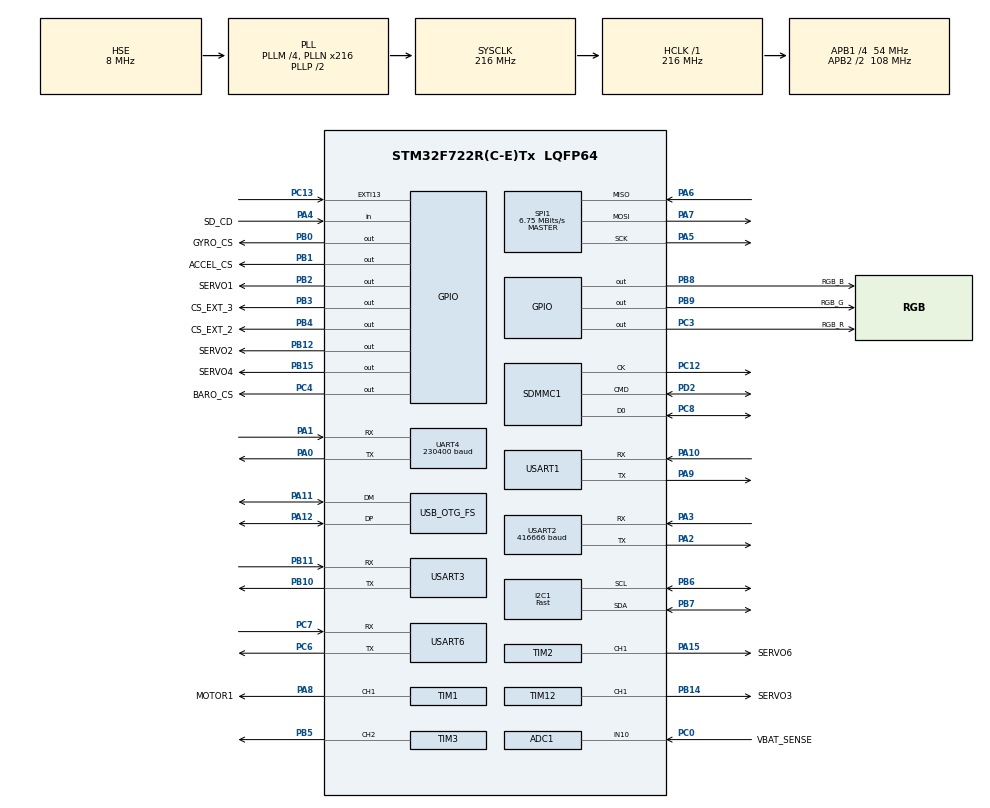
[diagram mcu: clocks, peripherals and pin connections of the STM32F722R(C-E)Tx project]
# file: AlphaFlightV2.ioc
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ADC1.Channel-3\#ChannelRegularConversion=ADC_CHANNEL_10
ADC1.NbrOfConversionFlag=1
ADC1.Rank-3\#ChannelRegularConversion=1
ADC1.SamplingTime-3\#ChannelRegularConversion=ADC_SAMPLETIME_3CYCLES
ADC1.master=1
CORTEX_M7.default_mode_Activation=1
Dma.Request0=USART2_RX
Dma.Request1=UART4_RX
Dma.Request2=USART2_TX
Dma.Request3=SDMMC1_TX
Dma.Request4=TIM1_UP
Dma.SDMMC1_TX.3.Direction=DMA_MEMORY_TO_PERIPH
Dma.SDMMC1_TX.3.FIFOMode=DMA_FIFOMODE_ENABLE
Dma.SDMMC1_TX.3.FIFOThreshold=DMA_FIFO_THRESHOLD_FULL
Dma.SDMMC1_TX.3.Instance=DMA2_Stream6
Dma.SDMMC1_TX.3.MemBurst=DMA_MBURST_INC4
Dma.SDMMC1_TX.3.MemDataAlignment=DMA_MDATAALIGN_WORD
Dma.SDMMC1_TX.3.MemInc=DMA_MINC_ENABLE
Dma.SDMMC1_TX.3.Mode=DMA_PFCTRL
Dma.SDMMC1_TX.3.PeriphBurst=DMA_PBURST_INC4
Dma.SDMMC1_TX.3.PeriphDataAlignment=DMA_PDATAALIGN_WORD
Dma.SDMMC1_TX.3.PeriphInc=DMA_PINC_DISABLE
Dma.SDMMC1_TX.3.Priority=DMA_PRIORITY_HIGH
Dma.TIM1_UP.4.Direction=DMA_MEMORY_TO_PERIPH
Dma.TIM1_UP.4.FIFOMode=DMA_FIFOMODE_DISABLE
Dma.TIM1_UP.4.Instance=DMA2_Stream5
Dma.TIM1_UP.4.MemDataAlignment=DMA_MDATAALIGN_HALFWORD
Dma.TIM1_UP.4.MemInc=DMA_MINC_ENABLE
Dma.TIM1_UP.4.Mode=DMA_NORMAL
Dma.TIM1_UP.4.PeriphDataAlignment=DMA_PDATAALIGN_HALFWORD
Dma.TIM1_UP.4.PeriphInc=DMA_PINC_DISABLE
Dma.TIM1_UP.4.Priority=DMA_PRIORITY_HIGH
Dma.UART4_RX.1.Direction=DMA_PERIPH_TO_MEMORY
Dma.UART4_RX.1.FIFOMode=DMA_FIFOMODE_DISABLE
Dma.UART4_RX.1.Instance=DMA1_Stream2
Dma.UART4_RX.1.MemDataAlignment=DMA_MDATAALIGN_BYTE
Dma.UART4_RX.1.MemInc=DMA_MINC_ENABLE
Dma.UART4_RX.1.Mode=DMA_CIRCULAR
Dma.UART4_RX.1.PeriphDataAlignment=DMA_PDATAALIGN_BYTE
Dma.UART4_RX.1.PeriphInc=DMA_PINC_DISABLE
Dma.UART4_RX.1.Priority=DMA_PRIORITY_HIGH
Dma.USART2_RX.0.Direction=DMA_PERIPH_TO_MEMORY
Dma.USART2_RX.0.FIFOMode=DMA_FIFOMODE_DISABLE
Dma.USART2_RX.0.Instance=DMA1_Stream5
Dma.USART2_RX.0.MemDataAlignment=DMA_MDATAALIGN_BYTE
Dma.USART2_RX.0.MemInc=DMA_MINC_ENABLE
Dma.USART2_RX.0.Mode=DMA_CIRCULAR
Dma.USART2_RX.0.PeriphDataAlignment=DMA_PDATAALIGN_BYTE
Dma.USART2_RX.0.PeriphInc=DMA_PINC_DISABLE
Dma.USART2_RX.0.Priority=DMA_PRIORITY_VERY_HIGH
Dma.USART2_TX.2.Direction=DMA_MEMORY_TO_PERIPH
Dma.USART2_TX.2.FIFOMode=DMA_FIFOMODE_DISABLE
Dma.USART2_TX.2.Instance=DMA1_Stream6
Dma.USART2_TX.2.MemDataAlignment=DMA_MDATAALIGN_BYTE
Dma.USART2_TX.2.MemInc=DMA_MINC_ENABLE
Dma.USART2_TX.2.Mode=DMA_NORMAL
Dma.USART2_TX.2.PeriphDataAlignment=DMA_PDATAALIGN_BYTE
Dma.USART2_TX.2.PeriphInc=DMA_PINC_DISABLE
Dma.USART2_TX.2.Priority=DMA_PRIORITY_MEDIUM
I2C1.I2C_Speed_Mode=I2C_Fast
I2C1.Timing=0x6000030D
Mcu.Family=STM32F7
Mcu.Name=STM32F722R(C-E)Tx
Mcu.Package=LQFP64
NVIC.DMA1_Stream2_IRQn=true\:0\:0\:false\:false\:true\:false\:true\:true
NVIC.DMA1_Stream5_IRQn=true\:0\:0\:false\:false\:true\:false\:true\:true
NVIC.DMA1_Stream6_IRQn=true\:0\:0\:false\:false\:true\:false\:true\:true
NVIC.DMA2_Stream5_IRQn=true\:0\:0\:false\:false\:true\:false\:true\:true
NVIC.DMA2_Stream6_IRQn=true\:0\:0\:false\:false\:true\:false\:true\:true
NVIC.EXTI15_10_IRQn=true\:0\:0\:false\:false\:true\:true\:true\:true
NVIC.OTG_FS_IRQn=true\:0\:0\:false\:false\:true\:false\:true\:true
NVIC.PriorityGroup=NVIC_PRIORITYGROUP_4
NVIC.SDMMC1_IRQn=true\:0\:0\:false\:false\:true\:true\:true\:true
NVIC.TIM1_UP_TIM10_IRQn=true\:0\:0\:false\:false\:true\:true\:true\:true
NVIC.UART4_IRQn=true\:0\:0\:false\:false\:true\:true\:true\:true
NVIC.USART2_IRQn=true\:0\:0\:false\:false\:true\:true\:true\:true
PA0-WKUP.Mode=Asynchronous
PA0-WKUP.Signal=UART4_TX
PA1.Mode=Asynchronous
PA1.Signal=UART4_RX
PA10.Mode=Asynchronous
PA10.Signal=USART1_RX
PA11.Mode=Device_Only
PA11.Signal=USB_OTG_FS_DM
PA12.Mode=Device_Only
PA12.Signal=USB_OTG_FS_DP
PA13.Mode=Serial_Wire
PA13.Signal=SYS_JTMS-SWDIO
PA14.Mode=Serial_Wire
PA14.Signal=SYS_JTCK-SWCLK
PA15.GPIO_Label=SERVO6
PA15.Signal=S_TIM2_CH1_ETR
PA2.Mode=Asynchronous
PA2.Signal=USART2_TX
PA3.Mode=Asynchronous
PA3.Signal=USART2_RX
PA4.GPIO_Label=SD_CD
PA4.GPIO_PuPd=GPIO_PULLUP
PA4.Signal=GPIO_Input
PA5.Mode=Full_Duplex_Master
PA5.Signal=SPI1_SCK
PA6.Mode=Full_Duplex_Master
PA6.Signal=SPI1_MISO
PA7.Mode=Full_Duplex_Master
PA7.Signal=SPI1_MOSI
PA8.GPIO_Label=MOTOR1
PA8.Signal=S_TIM1_CH1
PA9.Mode=Asynchronous
PA9.Signal=USART1_TX
PB0.GPIO_Label=GYRO_CS
PB0.GPIO_PuPd=GPIO_NOPULL
PB0.PinState=GPIO_PIN_SET
PB0.Signal=GPIO_Output
PB1.GPIO_Label=ACCEL_CS
PB1.GPIO_PuPd=GPIO_NOPULL
PB1.PinState=GPIO_PIN_SET
PB1.Signal=GPIO_Output
PB10.Mode=Asynchronous
PB10.Signal=USART3_TX
PB11.Mode=Asynchronous
PB11.Signal=USART3_RX
PB12.GPIO_Label=SERVO2
PB12.GPIO_Speed=GPIO_SPEED_FREQ_VERY_HIGH
PB12.Signal=GPIO_Output
PB13.Signal=SPI2_SCK
PB14.GPIO_Label=SERVO3
PB14.Signal=S_TIM12_CH1
PB15.GPIO_Label=SERVO4
PB15.GPIO_Speed=GPIO_SPEED_FREQ_VERY_HIGH
PB15.Signal=GPIO_Output
PB2.GPIO_Label=SERVO1
PB2.Signal=GPIO_Output
PB3.GPIO_Label=CS_EXT_3
PB3.GPIO_PuPd=GPIO_PULLUP
PB3.PinState=GPIO_PIN_SET
PB3.Signal=GPIO_Output
PB4.GPIO_Label=CS_EXT_2
PB4.GPIO_PuPd=GPIO_PULLUP
PB4.PinState=GPIO_PIN_SET
PB4.Signal=GPIO_Output
PB5.Signal=S_TIM3_CH2
PB6.Mode=I2C
PB6.Signal=I2C1_SCL
PB7.Mode=I2C
PB7.Signal=I2C1_SDA
PB8.GPIO_Label=RGB_B
PB8.GPIO_ModeDefaultOutputPP=GPIO_MODE_OUTPUT_OD
PB8.GPIO_PuPd=GPIO_NOPULL
PB8.PinState=GPIO_PIN_SET
PB8.Signal=GPIO_Output
PB9.GPIO_Label=RGB_G
PB9.GPIO_ModeDefaultOutputPP=GPIO_MODE_OUTPUT_OD
PB9.GPIO_PuPd=GPIO_NOPULL
PB9.PinState=GPIO_PIN_SET
PB9.Signal=GPIO_Output
PC0.GPIO_Label=VBAT_SENSE
PC0.Signal=ADCx_IN10
PC1.Signal=SPI2_MOSI
PC10.Signal=SDMMC1_D2
PC11.Signal=SDMMC1_D3
PC12.Mode=SD_1_bit
PC12.Signal=SDMMC1_CK
PC13.GPIO_ModeDefaultEXTI=GPIO_MODE_IT_FALLING
PC13.GPIO_PuPd=GPIO_PULLUP
PC13.Signal=GPXTI13
PC2.Signal=SPI2_MISO
PC3.GPIO_Label=RGB_R
PC3.GPIO_ModeDefaultOutputPP=GPIO_MODE_OUTPUT_OD
PC3.GPIO_PuPd=GPIO_NOPULL
PC3.PinState=GPIO_PIN_SET
PC3.Signal=GPIO_Output
PC4.GPIO_Label=BARO_CS
PC4.GPIO_PuPd=GPIO_PULLUP
PC4.PinState=GPIO_PIN_SET
PC4.Signal=GPIO_Output
PC6.Mode=Asynchronous
PC6.Signal=USART6_TX
PC7.Mode=Asynchronous
PC7.Signal=USART6_RX
PC8.Mode=SD_1_bit
PC8.Signal=SDMMC1_D0
PC9.Signal=SDMMC1_D1
PD2.Mode=SD_1_bit
PD2.Signal=SDMMC1_CMD
PH0-OSC_IN.Mode=HSE-External-Clock-Source
PH0-OSC_IN.Signal=RCC_OSC_IN
PH1-OSC_OUT.Mode=HSE-External-Clock-Source
PH1-OSC_OUT.Signal=RCC_OSC_OUT
ProjectManager.HeapSize=0x400
ProjectManager.StackSize=0x800
ProjectManager.TargetToolchain=STM32CubeIDE
RCC.AHBFreq_Value=216000000
RCC.APB1CLKDivider=RCC_HCLK_DIV4
RCC.APB1Freq_Value=54000000
RCC.APB1TimFreq_Value=108000000
RCC.APB2CLKDivider=RCC_HCLK_DIV2
RCC.APB2Freq_Value=108000000
RCC.APB2TimFreq_Value=216000000
RCC.CortexFreq_Value=216000000
RCC.EnbaleCSS=true
RCC.HCLKFreq_Value=216000000
RCC.HSE_VALUE=8000000
RCC.HSI_VALUE=16000000
RCC.LSE_VALUE=32768
RCC.PLLM=4
RCC.PLLN=216
RCC.PLLQ=9
RCC.SDMMCClockSelection=RCC_SDMMC1CLKSOURCE_CLK48
RCC.SYSCLKFreq_VALUE=216000000
RCC.SYSCLKSource=RCC_SYSCLKSOURCE_PLLCLK
RCC.USBFreq_Value=48000000
RCC.VCOOutputFreq_Value=432000000
SDMMC1.ClockDiv=4
SH.ADCx_IN10.0=ADC1_IN10,IN10
SH.S_TIM12_CH1.0=TIM12_CH1,PWM Generation1 CH1
SH.S_TIM1_CH1.0=TIM1_CH1,PWM Generation1 CH1
SH.S_TIM2_CH1_ETR.0=TIM2_CH1,PWM Generation1 CH1
SH.S_TIM3_CH2.0=TIM3_CH2,PWM Generation2 CH2
SPI1.BaudRatePrescaler=SPI_BAUDRATEPRESCALER_16
SPI1.CalculateBaudRate=6.75 MBits/s
SPI1.DataSize=SPI_DATASIZE_8BIT
SPI1.Direction=SPI_DIRECTION_2LINES
SPI1.Mode=SPI_MODE_MASTER
SPI1.VirtualType=VM_MASTER
TIM1.AutoReloadPreload=TIM_AUTORELOAD_PRELOAD_ENABLE
TIM1.Channel-PWM\ Generation1\ CH1=TIM_CHANNEL_1
TIM1.OCPolarity_1=TIM_OCPOLARITY_LOW
TIM1.Period=360
TIM1.Prescaler=0
TIM1.TIM_MasterOutputTrigger=TIM_TRGO_RESET
TIM10.AutoReloadPreload=TIM_AUTORELOAD_PRELOAD_ENABLE
TIM10.Channel=TIM_CHANNEL_1
TIM10.Period=20000
TIM10.Prescaler=215
TIM12.AutoReloadPreload=TIM_AUTORELOAD_PRELOAD_ENABLE
TIM12.Channel-PWM\ Generation1\ CH1=TIM_CHANNEL_1
TIM12.Period=19999
TIM12.Prescaler=107
TIM2.AutoReloadPreload=TIM_AUTORELOAD_PRELOAD_ENABLE
TIM2.Channel-PWM\ Generation1\ CH1=TIM_CHANNEL_1
TIM2.Period=19999
TIM2.Prescaler=107
TIM3.Channel-PWM\ Generation2\ CH2=TIM_CHANNEL_2
TIM5.Prescaler=107
UART4.BaudRate=230400
USART1.VirtualMode-Asynchronous=VM_ASYNC
USART2.BaudRate=416666
USART2.VirtualMode-Asynchronous=VM_ASYNC
USART3.VirtualMode-Asynchronous=VM_ASYNC
USART6.VirtualMode=VM_ASYNC
USB_DEVICE.CLASS_NAME_FS=CDC
USB_DEVICE.VirtualMode-CDC_FS=Cdc
USB_DEVICE.VirtualModeFS=Cdc_FS
USB_OTG_FS.VirtualMode=Device_Only
VP_CRC_VS_CRC.Mode=CRC_Activate
VP_TIM10_VS_ClockSourceINT.Mode=Enable_Timer
VP_TIM10_VS_no_output1.Mode=Output Compare1 No Output
VP_TIM12_VS_ClockSourceINT.Mode=Internal
VP_TIM1_VS_ClockSourceINT.Mode=Internal
VP_TIM2_VS_ClockSourceINT.Mode=Internal
VP_TIM3_VS_ClockSourceINT.Mode=Internal
VP_TIM5_VS_ClockSourceINT.Mode=Internal
VP_USB_DEVICE_VS_USB_DEVICE_CDC_FS.Mode=CDC_FS
board=custom

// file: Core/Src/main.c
/* USER CODE BEGIN Header */
/**
  ******************************************************************************
  * @file           : main.c
  * @brief          : Main program body
  ******************************************************************************
  * @attention
  *
  * Copyright (c) 2025 STMicroelectronics.
  * All rights reserved.
  *
  * This software is licensed under terms that can be found in the LICENSE file
  * in the root directory of this software component.
  * If no LICENSE file comes with this software, it is provided AS-IS.
  *
  ******************************************************************************
  *
  * TODO: Search for timer pins
  */
/* USER CODE END Header */
#include "main.h"
#include "usb_device.h"

/* USER CODE BEGIN Includes */
#include <math.h>
#include <stdbool.h>

#include "onboard-sensors.h"
#include "crossfire.h"
#include "servo.h"
#include "scheduler.h"
#include "m10-gps.h"
#include "time-utils.h"
#include "flight_control.h"
#include "attitude_pid.h"
#include "sd_logger.h"
#include "utils.h"
#include "flight_state.h"
#include "usage_stats.h"
#include "load_config.h"
#include "qmc5883.h"
#include "usb_manager.h"
#include "config_data.h"
#include "dshot.h"
/* USER CODE END Includes */

/* USER CODE BEGIN PTD */
static volatile unsigned char progress_counter = 0;

/* USER CODE END PTD */

ADC_HandleTypeDef hadc1;

CRC_HandleTypeDef hcrc;

I2C_HandleTypeDef hi2c1;

SD_HandleTypeDef hsd1;
DMA_HandleTypeDef hdma_sdmmc1_tx;

TIM_HandleTypeDef htim1;
TIM_HandleTypeDef htim2;
TIM_HandleTypeDef htim3;
TIM_HandleTypeDef htim5;
TIM_HandleTypeDef htim10;
TIM_HandleTypeDef htim12;
DMA_HandleTypeDef hdma_tim1_up;

UART_HandleTypeDef huart4;
UART_HandleTypeDef huart1;
UART_HandleTypeDef huart2;
UART_HandleTypeDef huart3;
UART_HandleTypeDef huart6;
DMA_HandleTypeDef hdma_uart4_rx;
DMA_HandleTypeDef hdma_usart2_rx;
DMA_HandleTypeDef hdma_usart2_tx;

void SystemClock_Config(void);
static void MPU_Config(void);
static void MX_GPIO_Init(void);
static void MX_DMA_Init(void);
static void MX_USART1_UART_Init(void);
static void MX_USART2_UART_Init(void);
static void MX_USART6_UART_Init(void);
static void MX_SPI1_Init(void);
static void MX_I2C1_Init(void);
static void MX_UART4_Init(void);
static void MX_USART3_UART_Init(void);
static void MX_ADC1_Init(void);
static void MX_TIM2_Init(void);
static void MX_TIM10_Init(void);
static void MX_TIM1_Init(void);
static void MX_TIM12_Init(void);
static void MX_TIM5_Init(void);
static void MX_SDMMC1_SD_Init(void);
static void MX_CRC_Init(void);
static void MX_TIM3_Init(void);
/* USER CODE BEGIN PFP */
#if PRINT_DEBUG_DATA
static void PRINT_DATA(void);
#endif
/* USER CODE END PFP */

/* USER CODE BEGIN 0 */
extern FLY_BY_WIRE_SETPOINTS fly_by_wire_setpoints;
extern FLY_BY_WIRE_PID fbw_pid_settings;
extern bool arm_status;
/* USER CODE END 0 */

int main(void)
{

  /* USER CODE BEGIN 1 */
	progress_counter = 1;
  /* USER CODE END 1 */

  /* MPU Configuration--------------------------------------------------------*/
  MPU_Config();

  /* MCU Configuration--------------------------------------------------------*/

  /* Reset of all peripherals, Initializes the Flash interface and the Systick. */
  HAL_Init();

  /* Configure the system clock */
  SystemClock_Config();

  /* USER CODE BEGIN SysInit */
  progress_counter = 2;
  /* USER CODE END SysInit */

  /* Initialize all configured peripherals */
  MX_GPIO_Init();
  MX_DMA_Init();
  MX_USART1_UART_Init();
  MX_USART2_UART_Init();
  MX_USART6_UART_Init();
  MX_SPI1_Init();
  MX_I2C1_Init();
  MX_UART4_Init();
  MX_USART3_UART_Init();
  MX_ADC1_Init();
  MX_USB_DEVICE_Init();
  MX_TIM2_Init();
  MX_TIM10_Init();
  MX_TIM1_Init();
  MX_TIM12_Init();
  MX_TIM5_Init();
  MX_SDMMC1_SD_Init();
  MX_CRC_Init();
  MX_TIM3_Init();
  /* USER CODE BEGIN 2 */
  progress_counter = 3;

  LOAD_CONFIG_INIT();

  LL_SPI_Enable(SPI1);
  uint8_t counter = 0;
  while(SENSORS_INIT(SPI1, GPIOB, GPIO_PIN_0, GPIOB, GPIO_PIN_1, GPIOC, GPIO_PIN_4) > 0 || ONBOARD_SENSORS.accel.accel.x == 0){
	  for(int i = 0; i < 100; i++){
		  HAL_Delay(1);
	  	  ACCEL_READ();
	  }
	  if(counter++ > 10){

		  DEBUG_PRINT_VERBOSE("No Correct Accel value after 10 tries");
		  ERROR_HANDLER_BLINKS(1);
	  }
  }

  progress_counter = 4;

  HAL_Delay(100);

  BARO_SET_BASE_PRESSURE();

  progress_counter = 5;

  SERVO_ADD(&htim12, TIM_CHANNEL_1);
  SERVO_ADD(&htim1, TIM_CHANNEL_1);
  SERVO_ADD(&htim2, TIM_CHANNEL_1);
  SERVO_SET(0, 1500);
  SERVO_SET(1, 1000);
  SERVO_SET(2, 1500);
  SERVOS_START_TRANSMISSION();

  progress_counter = 6;

  CRSF_INIT(&huart2, &hdma_usart2_rx);

  progress_counter = 7;

  GPS_INIT(&huart4, &hdma_uart4_rx);

  progress_counter = 8;

  SD_LOGGER_INIT();
  const uint16_t logging_frequency = 30;

  progress_counter = 9;

  DSHOT_SET_THROTTLE(0, 0);

  progress_counter = 10;
  //SCHEDULER_ADD_TASK(SCHEDULER_CHECK_EXECUTION_DELAY, 40000);		// 25 Hz
  SCHEDULER_ADD_TASK(USAGE_STAT_START_OF_SCHEDULER_CALL, HZ_TO_DELTA_T_US(1000), "Scheduler start");
  SCHEDULER_ADD_TASK(GYRO_READ, HZ_TO_DELTA_T_US(1000), "Gyro read");		// 1 kHz
  SCHEDULER_ADD_TASK(GYRO_INTEGRATE_EXACT, HZ_TO_DELTA_T_US(1000), "gyro integration");	// 1 kHz
  SCHEDULER_ADD_TASK(ACCEL_READ, HZ_TO_DELTA_T_US(200), "Accelerometer");		// 250 Hz
  SCHEDULER_ADD_TASK(DSHOT_SEND_FRAME, HZ_TO_DELTA_T_US(100), "DSHOT send Motor frame");
  SCHEDULER_ADD_TASK(BARO_READ, HZ_TO_DELTA_T_US(25), "Barometer");		// 25 Hz
  SCHEDULER_ADD_TASK(CRSF_PARSE_BUFFER, HZ_TO_DELTA_T_US(100), "CRSF buffer parse");	// 100 Hz
  SCHEDULER_ADD_TASK(FC_SANITY_CHECK, HZ_TO_DELTA_T_US(100), "FC sanity check");		// 100 Hz
  SCHEDULER_ADD_TASK(FC_MODE_CHECK, HZ_TO_DELTA_T_US(100), "FC Mode check");		// 100 Hz
  SCHEDULER_ADD_TASK(FC_PROCESS, HZ_TO_DELTA_T_US(100), "FC Process");		// 100 Hz
  SCHEDULER_ADD_TASK(BATTERY_UPDATE, HZ_TO_DELTA_T_US(100), "Battery read");		// 100 Hz
  SCHEDULER_ADD_TASK(GPS_PARSE_BUFFER, HZ_TO_DELTA_T_US(25), "GPS buffer parse");	// 25 Hz
  SCHEDULER_ADD_TASK(SD_LOGGER_LOOP_CALL, HZ_TO_DELTA_T_US(logging_frequency), "SD Logger loop");
  SCHEDULER_ADD_TASK(CRSF_HANDLE_TELEMETRY, HZ_TO_DELTA_T_US(50), "CRSF Telemetry");	// 5 Hz
  SCHEDULER_ADD_TASK(USB_CHECK_FOR_CONNECTION, HZ_TO_DELTA_T_US(10), "USB Connection check");
  SCHEDULER_ADD_TASK(CONFIG_DATA_COMPARE_TO_BACKUP, HZ_TO_DELTA_T_US(10), "Config data backup comparison");
  //SCHEDULER_ADD_TASK(FC_PID_PRINT_CURRENT_SERVO_POINTS, 100000);
  SCHEDULER_ADD_TASK(USAGE_STAT_END_OF_SCHEDULER_CALL, HZ_TO_DELTA_T_US(1000), "Scheduler end");
  #if PRINT_DEBUG_DATA
  SCHEDULER_ADD_TASK(PRINT_DATA, HZ_TO_DELTA_T_US(10), "Debug print");	// 10 Hz
  #endif
  TIME_UTILS_MICROS_TIM_START(&htim5);

  USB_INIT();

  SCHEDULER_INIT();	// MICROS ONLY WORKS WHEN THIS IS ENABLED

	progress_counter = 11;
  /* USER CODE END 2 */

  /* Infinite loop */
  /* USER CODE BEGIN WHILE */
  while (1){
	  SCHEDULER_UPDATE();
    /* USER CODE END WHILE */

  }
}

void SystemClock_Config(void)
{
  RCC_OscInitTypeDef RCC_OscInitStruct = {0};
  RCC_ClkInitTypeDef RCC_ClkInitStruct = {0};

  /** Configure the main internal regulator output voltage
  */
  __HAL_RCC_PWR_CLK_ENABLE();
  __HAL_PWR_VOLTAGESCALING_CONFIG(PWR_REGULATOR_VOLTAGE_SCALE1);

  /** Initializes the RCC Oscillators according to the specified parameters
  * in the RCC_OscInitTypeDef structure.
  */
  RCC_OscInitStruct.OscillatorType = RCC_OSCILLATORTYPE_HSE;
  RCC_OscInitStruct.HSEState = RCC_HSE_BYPASS;
  RCC_OscInitStruct.PLL.PLLState = RCC_PLL_ON;
  RCC_OscInitStruct.PLL.PLLSource = RCC_PLLSOURCE_HSE;
  RCC_OscInitStruct.PLL.PLLM = 4;
  RCC_OscInitStruct.PLL.PLLN = 216;
  RCC_OscInitStruct.PLL.PLLP = RCC_PLLP_DIV2;
  RCC_OscInitStruct.PLL.PLLQ = 9;
  if (HAL_RCC_OscConfig(&RCC_OscInitStruct) != HAL_OK)
  {
    Error_Handler();
  }

  /** Activate the Over-Drive mode
  */
  if (HAL_PWREx_EnableOverDrive() != HAL_OK)
  {
    Error_Handler();
  }

  /** Initializes the CPU, AHB and APB buses clocks
  */
  RCC_ClkInitStruct.ClockType = RCC_CLOCKTYPE_HCLK|RCC_CLOCKTYPE_SYSCLK
                              |RCC_CLOCKTYPE_PCLK1|RCC_CLOCKTYPE_PCLK2;
  RCC_ClkInitStruct.SYSCLKSource = RCC_SYSCLKSOURCE_PLLCLK;
  RCC_ClkInitStruct.AHBCLKDivider = RCC_SYSCLK_DIV1;
  RCC_ClkInitStruct.APB1CLKDivider = RCC_HCLK_DIV4;
  RCC_ClkInitStruct.APB2CLKDivider = RCC_HCLK_DIV2;

  if (HAL_RCC_ClockConfig(&RCC_ClkInitStruct, FLASH_LATENCY_7) != HAL_OK)
  {
    Error_Handler();
  }

  /** Enables the Clock Security System
  */
  HAL_RCC_EnableCSS();
}

static void MX_ADC1_Init(void)
{

  ADC_ChannelConfTypeDef sConfig = {0};

  /** Configure the global features of the ADC (Clock, Resolution, Data Alignment and number of conversion)
  */
  hadc1.Instance = ADC1;
  hadc1.Init.ClockPrescaler = ADC_CLOCK_SYNC_PCLK_DIV4;
  hadc1.Init.Resolution = ADC_RESOLUTION_12B;
  hadc1.Init.ScanConvMode = ADC_SCAN_DISABLE;
  hadc1.Init.ContinuousConvMode = DISABLE;
  hadc1.Init.DiscontinuousConvMode = DISABLE;
  hadc1.Init.ExternalTrigConvEdge = ADC_EXTERNALTRIGCONVEDGE_NONE;
  hadc1.Init.ExternalTrigConv = ADC_SOFTWARE_START;
  hadc1.Init.DataAlign = ADC_DATAALIGN_RIGHT;
  hadc1.Init.NbrOfConversion = 1;
  hadc1.Init.DMAContinuousRequests = DISABLE;
  hadc1.Init.EOCSelection = ADC_EOC_SINGLE_CONV;
  if (HAL_ADC_Init(&hadc1) != HAL_OK)
  {
    Error_Handler();
  }

  /** Configure for the selected ADC regular channel its corresponding rank in the sequencer and its sample time.
  */
  sConfig.Channel = ADC_CHANNEL_10;
  sConfig.Rank = ADC_REGULAR_RANK_1;
  sConfig.SamplingTime = ADC_SAMPLETIME_3CYCLES;
  if (HAL_ADC_ConfigChannel(&hadc1, &sConfig) != HAL_OK)
  {
    Error_Handler();
  }

}

static void MX_CRC_Init(void)
{

  hcrc.Instance = CRC;
  hcrc.Init.DefaultPolynomialUse = DEFAULT_POLYNOMIAL_ENABLE;
  hcrc.Init.DefaultInitValueUse = DEFAULT_INIT_VALUE_ENABLE;
  hcrc.Init.InputDataInversionMode = CRC_INPUTDATA_INVERSION_NONE;
  hcrc.Init.OutputDataInversionMode = CRC_OUTPUTDATA_INVERSION_DISABLE;
  hcrc.InputDataFormat = CRC_INPUTDATA_FORMAT_BYTES;
  if (HAL_CRC_Init(&hcrc) != HAL_OK)
  {
    Error_Handler();
  }

}

static void MX_I2C1_Init(void)
{

  hi2c1.Instance = I2C1;
  hi2c1.Init.Timing = 0x6000030D;
  hi2c1.Init.OwnAddress1 = 0;
  hi2c1.Init.AddressingMode = I2C_ADDRESSINGMODE_7BIT;
  hi2c1.Init.DualAddressMode = I2C_DUALADDRESS_DISABLE;
  hi2c1.Init.OwnAddress2 = 0;
  hi2c1.Init.OwnAddress2Masks = I2C_OA2_NOMASK;
  hi2c1.Init.GeneralCallMode = I2C_GENERALCALL_DISABLE;
  hi2c1.Init.NoStretchMode = I2C_NOSTRETCH_DISABLE;
  if (HAL_I2C_Init(&hi2c1) != HAL_OK)
  {
    Error_Handler();
  }

  /** Configure Analogue filter
  */
  if (HAL_I2CEx_ConfigAnalogFilter(&hi2c1, I2C_ANALOGFILTER_ENABLE) != HAL_OK)
  {
    Error_Handler();
  }

  /** Configure Digital filter
  */
  if (HAL_I2CEx_ConfigDigitalFilter(&hi2c1, 0) != HAL_OK)
  {
    Error_Handler();
  }

}

static void MX_SDMMC1_SD_Init(void)
{

  hsd1.Instance = SDMMC1;
  hsd1.Init.ClockEdge = SDMMC_CLOCK_EDGE_RISING;
  hsd1.Init.ClockBypass = SDMMC_CLOCK_BYPASS_DISABLE;
  hsd1.Init.ClockPowerSave = SDMMC_CLOCK_POWER_SAVE_DISABLE;
  hsd1.Init.BusWide = SDMMC_BUS_WIDE_1B;
  hsd1.Init.HardwareFlowControl = SDMMC_HARDWARE_FLOW_CONTROL_DISABLE;
  hsd1.Init.ClockDiv = 4;
  if (HAL_SD_Init(&hsd1) != HAL_OK)
  {
    Error_Handler();
  }
  /* USER CODE BEGIN SDMMC1_Init 2 */
  if (HAL_SD_ConfigWideBusOperation(&hsd1, SDMMC_BUS_WIDE_4B) != HAL_OK) {
	  ERROR_HANDLER_BLINKS(1);  // Handle errors
  }
  if (HAL_SD_Init(&hsd1) != HAL_OK) {
	  ERROR_HANDLER_BLINKS(2);  // Init failed
  }
  /* USER CODE END SDMMC1_Init 2 */

}

static void MX_SPI1_Init(void)
{

  LL_SPI_InitTypeDef SPI_InitStruct = {0};

  LL_GPIO_InitTypeDef GPIO_InitStruct = {0};

  /* Peripheral clock enable */
  LL_APB2_GRP1_EnableClock(LL_APB2_GRP1_PERIPH_SPI1);

  LL_AHB1_GRP1_EnableClock(LL_AHB1_GRP1_PERIPH_GPIOA);
  /**SPI1 GPIO Configuration
  PA5   ------> SPI1_SCK
  PA6   ------> SPI1_MISO
  PA7   ------> SPI1_MOSI
  */
  GPIO_InitStruct.Pin = LL_GPIO_PIN_5;
  GPIO_InitStruct.Mode = LL_GPIO_MODE_ALTERNATE;
  GPIO_InitStruct.Speed = LL_GPIO_SPEED_FREQ_VERY_HIGH;
  GPIO_InitStruct.OutputType = LL_GPIO_OUTPUT_PUSHPULL;
  GPIO_InitStruct.Pull = LL_GPIO_PULL_NO;
  GPIO_InitStruct.Alternate = LL_GPIO_AF_5;
  LL_GPIO_Init(GPIOA, &GPIO_InitStruct);

  GPIO_InitStruct.Pin = LL_GPIO_PIN_6;
  GPIO_InitStruct.Mode = LL_GPIO_MODE_ALTERNATE;
  GPIO_InitStruct.Speed = LL_GPIO_SPEED_FREQ_VERY_HIGH;
  GPIO_InitStruct.OutputType = LL_GPIO_OUTPUT_PUSHPULL;
  GPIO_InitStruct.Pull = LL_GPIO_PULL_NO;
  GPIO_InitStruct.Alternate = LL_GPIO_AF_5;
  LL_GPIO_Init(GPIOA, &GPIO_InitStruct);

  GPIO_InitStruct.Pin = LL_GPIO_PIN_7;
  GPIO_InitStruct.Mode = LL_GPIO_MODE_ALTERNATE;
  GPIO_InitStruct.Speed = LL_GPIO_SPEED_FREQ_VERY_HIGH;
  GPIO_InitStruct.OutputType = LL_GPIO_OUTPUT_PUSHPULL;
  GPIO_InitStruct.Pull = LL_GPIO_PULL_NO;
  GPIO_InitStruct.Alternate = LL_GPIO_AF_5;
  LL_GPIO_Init(GPIOA, &GPIO_InitStruct);

  /* SPI1 parameter configuration*/
  SPI_InitStruct.TransferDirection = LL_SPI_FULL_DUPLEX;
  SPI_InitStruct.Mode = LL_SPI_MODE_MASTER;
  SPI_InitStruct.DataWidth = LL_SPI_DATAWIDTH_8BIT;
  SPI_InitStruct.ClockPolarity = LL_SPI_POLARITY_LOW;
  SPI_InitStruct.ClockPhase = LL_SPI_PHASE_1EDGE;
  SPI_InitStruct.NSS = LL_SPI_NSS_SOFT;
  SPI_InitStruct.BaudRate = LL_SPI_BAUDRATEPRESCALER_DIV16;
  SPI_InitStruct.BitOrder = LL_SPI_MSB_FIRST;
  SPI_InitStruct.CRCCalculation = LL_SPI_CRCCALCULATION_DISABLE;
  SPI_InitStruct.CRCPoly = 7;
  LL_SPI_Init(SPI1, &SPI_InitStruct);
  LL_SPI_SetStandard(SPI1, LL_SPI_PROTOCOL_MOTOROLA);
  LL_SPI_EnableNSSPulseMgt(SPI1);

}

static void MX_TIM1_Init(void)
{

  TIM_ClockConfigTypeDef sClockSourceConfig = {0};
  TIM_MasterConfigTypeDef sMasterConfig = {0};
  TIM_OC_InitTypeDef sConfigOC = {0};
  TIM_BreakDeadTimeConfigTypeDef sBreakDeadTimeConfig = {0};

  htim1.Instance = TIM1;
  htim1.Init.Prescaler = 0;
  htim1.Init.CounterMode = TIM_COUNTERMODE_UP;
  htim1.Init.Period = 360;
  htim1.Init.ClockDivision = TIM_CLOCKDIVISION_DIV1;
  htim1.Init.RepetitionCounter = 0;
  htim1.Init.AutoReloadPreload = TIM_AUTORELOAD_PRELOAD_ENABLE;
  if (HAL_TIM_Base_Init(&htim1) != HAL_OK)
  {
    Error_Handler();
  }
  sClockSourceConfig.ClockSource = TIM_CLOCKSOURCE_INTERNAL;
  if (HAL_TIM_ConfigClockSource(&htim1, &sClockSourceConfig) != HAL_OK)
  {
    Error_Handler();
  }
  if (HAL_TIM_PWM_Init(&htim1) != HAL_OK)
  {
    Error_Handler();
  }
  sMasterConfig.MasterOutputTrigger = TIM_TRGO_RESET;
  sMasterConfig.MasterOutputTrigger2 = TIM_TRGO2_RESET;
  sMasterConfig.MasterSlaveMode = TIM_MASTERSLAVEMODE_DISABLE;
  if (HAL_TIMEx_MasterConfigSynchronization(&htim1, &sMasterConfig) != HAL_OK)
  {
    Error_Handler();
  }
  sConfigOC.OCMode = TIM_OCMODE_PWM1;
  sConfigOC.Pulse = 0;
  sConfigOC.OCPolarity = TIM_OCPOLARITY_LOW;
  sConfigOC.OCNPolarity = TIM_OCNPOLARITY_HIGH;
  sConfigOC.OCFastMode = TIM_OCFAST_DISABLE;
  sConfigOC.OCIdleState = TIM_OCIDLESTATE_RESET;
  sConfigOC.OCNIdleState = TIM_OCNIDLESTATE_RESET;
  if (HAL_TIM_PWM_ConfigChannel(&htim1, &sConfigOC, TIM_CHANNEL_1) != HAL_OK)
  {
    Error_Handler();
  }
  sBreakDeadTimeConfig.OffStateRunMode = TIM_OSSR_DISABLE;
  sBreakDeadTimeConfig.OffStateIDLEMode = TIM_OSSI_DISABLE;
  sBreakDeadTimeConfig.LockLevel = TIM_LOCKLEVEL_OFF;
  sBreakDeadTimeConfig.DeadTime = 0;
  sBreakDeadTimeConfig.BreakState = TIM_BREAK_DISABLE;
  sBreakDeadTimeConfig.BreakPolarity = TIM_BREAKPOLARITY_HIGH;
  sBreakDeadTimeConfig.BreakFilter = 0;
  sBreakDeadTimeConfig.Break2State = TIM_BREAK2_DISABLE;
  sBreakDeadTimeConfig.Break2Polarity = TIM_BREAK2POLARITY_HIGH;
  sBreakDeadTimeConfig.Break2Filter = 0;
  sBreakDeadTimeConfig.AutomaticOutput = TIM_AUTOMATICOUTPUT_DISABLE;
  if (HAL_TIMEx_ConfigBreakDeadTime(&htim1, &sBreakDeadTimeConfig) != HAL_OK)
  {
    Error_Handler();
  }
  HAL_TIM_MspPostInit(&htim1);

}

static void MX_TIM2_Init(void)
{

  TIM_ClockConfigTypeDef sClockSourceConfig = {0};
  TIM_MasterConfigTypeDef sMasterConfig = {0};
  TIM_OC_InitTypeDef sConfigOC = {0};

  htim2.Instance = TIM2;
  htim2.Init.Prescaler = 107;
  htim2.Init.CounterMode = TIM_COUNTERMODE_UP;
  htim2.Init.Period = 19999;
  htim2.Init.ClockDivision = TIM_CLOCKDIVISION_DIV1;
  htim2.Init.AutoReloadPreload = TIM_AUTORELOAD_PRELOAD_ENABLE;
  if (HAL_TIM_Base_Init(&htim2) != HAL_OK)
  {
    Error_Handler();
  }
  sClockSourceConfig.ClockSource = TIM_CLOCKSOURCE_INTERNAL;
  if (HAL_TIM_ConfigClockSource(&htim2, &sClockSourceConfig) != HAL_OK)
  {
    Error_Handler();
  }
  if (HAL_TIM_PWM_Init(&htim2) != HAL_OK)
  {
    Error_Handler();
  }
  sMasterConfig.MasterOutputTrigger = TIM_TRGO_RESET;
  sMasterConfig.MasterSlaveMode = TIM_MASTERSLAVEMODE_DISABLE;
  if (HAL_TIMEx_MasterConfigSynchronization(&htim2, &sMasterConfig) != HAL_OK)
  {
    Error_Handler();
  }
  sConfigOC.OCMode = TIM_OCMODE_PWM1;
  sConfigOC.Pulse = 0;
  sConfigOC.OCPolarity = TIM_OCPOLARITY_HIGH;
  sConfigOC.OCFastMode = TIM_OCFAST_DISABLE;
  if (HAL_TIM_PWM_ConfigChannel(&htim2, &sConfigOC, TIM_CHANNEL_1) != HAL_OK)
  {
    Error_Handler();
  }
  HAL_TIM_MspPostInit(&htim2);

}

static void MX_TIM3_Init(void)
{

  TIM_ClockConfigTypeDef sClockSourceConfig = {0};
  TIM_MasterConfigTypeDef sMasterConfig = {0};
  TIM_OC_InitTypeDef sConfigOC = {0};

  htim3.Instance = TIM3;
  htim3.Init.Prescaler = 0;
  htim3.Init.CounterMode = TIM_COUNTERMODE_UP;
  htim3.Init.Period = 65535;
  htim3.Init.ClockDivision = TIM_CLOCKDIVISION_DIV1;
  htim3.Init.AutoReloadPreload = TIM_AUTORELOAD_PRELOAD_DISABLE;
  if (HAL_TIM_Base_Init(&htim3) != HAL_OK)
  {
    Error_Handler();
  }
  sClockSourceConfig.ClockSource = TIM_CLOCKSOURCE_INTERNAL;
  if (HAL_TIM_ConfigClockSource(&htim3, &sClockSourceConfig) != HAL_OK)
  {
    Error_Handler();
  }
  if (HAL_TIM_PWM_Init(&htim3) != HAL_OK)
  {
    Error_Handler();
  }
  sMasterConfig.MasterOutputTrigger = TIM_TRGO_RESET;
  sMasterConfig.MasterSlaveMode = TIM_MASTERSLAVEMODE_DISABLE;
  if (HAL_TIMEx_MasterConfigSynchronization(&htim3, &sMasterConfig) != HAL_OK)
  {
    Error_Handler();
  }
  sConfigOC.OCMode = TIM_OCMODE_PWM1;
  sConfigOC.Pulse = 0;
  sConfigOC.OCPolarity = TIM_OCPOLARITY_HIGH;
  sConfigOC.OCFastMode = TIM_OCFAST_DISABLE;
  if (HAL_TIM_PWM_ConfigChannel(&htim3, &sConfigOC, TIM_CHANNEL_2) != HAL_OK)
  {
    Error_Handler();
  }
  HAL_TIM_MspPostInit(&htim3);

}

static void MX_TIM5_Init(void)
{

  TIM_ClockConfigTypeDef sClockSourceConfig = {0};
  TIM_MasterConfigTypeDef sMasterConfig = {0};

  htim5.Instance = TIM5;
  htim5.Init.Prescaler = 107;
  htim5.Init.CounterMode = TIM_COUNTERMODE_UP;
  htim5.Init.Period = 4294967295;
  htim5.Init.ClockDivision = TIM_CLOCKDIVISION_DIV1;
  htim5.Init.AutoReloadPreload = TIM_AUTORELOAD_PRELOAD_DISABLE;
  if (HAL_TIM_Base_Init(&htim5) != HAL_OK)
  {
    Error_Handler();
  }
  sClockSourceConfig.ClockSource = TIM_CLOCKSOURCE_INTERNAL;
  if (HAL_TIM_ConfigClockSource(&htim5, &sClockSourceConfig) != HAL_OK)
  {
    Error_Handler();
  }
  sMasterConfig.MasterOutputTrigger = TIM_TRGO_RESET;
  sMasterConfig.MasterSlaveMode = TIM_MASTERSLAVEMODE_DISABLE;
  if (HAL_TIMEx_MasterConfigSynchronization(&htim5, &sMasterConfig) != HAL_OK)
  {
    Error_Handler();
  }

}

static void MX_TIM10_Init(void)
{

  TIM_OC_InitTypeDef sConfigOC = {0};

  htim10.Instance = TIM10;
  htim10.Init.Prescaler = 215;
  htim10.Init.CounterMode = TIM_COUNTERMODE_UP;
  htim10.Init.Period = 20000;
  htim10.Init.ClockDivision = TIM_CLOCKDIVISION_DIV1;
  htim10.Init.AutoReloadPreload = TIM_AUTORELOAD_PRELOAD_ENABLE;
  if (HAL_TIM_Base_Init(&htim10) != HAL_OK)
  {
    Error_Handler();
  }
  if (HAL_TIM_OC_Init(&htim10) != HAL_OK)
  {
    Error_Handler();
  }
  sConfigOC.OCMode = TIM_OCMODE_TIMING;
  sConfigOC.Pulse = 0;
  sConfigOC.OCPolarity = TIM_OCPOLARITY_HIGH;
  sConfigOC.OCFastMode = TIM_OCFAST_DISABLE;
  if (HAL_TIM_OC_ConfigChannel(&htim10, &sConfigOC, TIM_CHANNEL_1) != HAL_OK)
  {
    Error_Handler();
  }

}

static void MX_TIM12_Init(void)
{

  TIM_ClockConfigTypeDef sClockSourceConfig = {0};
  TIM_OC_InitTypeDef sConfigOC = {0};

  htim12.Instance = TIM12;
  htim12.Init.Prescaler = 107;
  htim12.Init.CounterMode = TIM_COUNTERMODE_UP;
  htim12.Init.Period = 19999;
  htim12.Init.ClockDivision = TIM_CLOCKDIVISION_DIV1;
  htim12.Init.AutoReloadPreload = TIM_AUTORELOAD_PRELOAD_ENABLE;
  if (HAL_TIM_Base_Init(&htim12) != HAL_OK)
  {
    Error_Handler();
  }
  sClockSourceConfig.ClockSource = TIM_CLOCKSOURCE_INTERNAL;
  if (HAL_TIM_ConfigClockSource(&htim12, &sClockSourceConfig) != HAL_OK)
  {
    Error_Handler();
  }
  if (HAL_TIM_PWM_Init(&htim12) != HAL_OK)
  {
    Error_Handler();
  }
  sConfigOC.OCMode = TIM_OCMODE_PWM1;
  sConfigOC.Pulse = 0;
  sConfigOC.OCPolarity = TIM_OCPOLARITY_HIGH;
  sConfigOC.OCFastMode = TIM_OCFAST_DISABLE;
  if (HAL_TIM_PWM_ConfigChannel(&htim12, &sConfigOC, TIM_CHANNEL_1) != HAL_OK)
  {
    Error_Handler();
  }
  HAL_TIM_MspPostInit(&htim12);

}

static void MX_UART4_Init(void)
{

  huart4.Instance = UART4;
  huart4.Init.BaudRate = 230400;
  huart4.Init.WordLength = UART_WORDLENGTH_8B;
  huart4.Init.StopBits = UART_STOPBITS_1;
  huart4.Init.Parity = UART_PARITY_NONE;
  huart4.Init.Mode = UART_MODE_TX_RX;
  huart4.Init.HwFlowCtl = UART_HWCONTROL_NONE;
  huart4.Init.OverSampling = UART_OVERSAMPLING_16;
  huart4.Init.OneBitSampling = UART_ONE_BIT_SAMPLE_DISABLE;
  huart4.AdvancedInit.AdvFeatureInit = UART_ADVFEATURE_NO_INIT;
  if (HAL_UART_Init(&huart4) != HAL_OK)
  {
    Error_Handler();
  }

}

static void MX_USART1_UART_Init(void)
{

  huart1.Instance = USART1;
  huart1.Init.BaudRate = 115200;
  huart1.Init.WordLength = UART_WORDLENGTH_8B;
  huart1.Init.StopBits = UART_STOPBITS_1;
  huart1.Init.Parity = UART_PARITY_NONE;
  huart1.Init.Mode = UART_MODE_TX_RX;
  huart1.Init.HwFlowCtl = UART_HWCONTROL_NONE;
  huart1.Init.OverSampling = UART_OVERSAMPLING_16;
  huart1.Init.OneBitSampling = UART_ONE_BIT_SAMPLE_DISABLE;
  huart1.AdvancedInit.AdvFeatureInit = UART_ADVFEATURE_NO_INIT;
  if (HAL_UART_Init(&huart1) != HAL_OK)
  {
    Error_Handler();
  }

}

static void MX_USART2_UART_Init(void)
{

  huart2.Instance = USART2;
  huart2.Init.BaudRate = 416666;
  huart2.Init.WordLength = UART_WORDLENGTH_8B;
  huart2.Init.StopBits = UART_STOPBITS_1;
  huart2.Init.Parity = UART_PARITY_NONE;
  huart2.Init.Mode = UART_MODE_TX_RX;
  huart2.Init.HwFlowCtl = UART_HWCONTROL_NONE;
  huart2.Init.OverSampling = UART_OVERSAMPLING_16;
  huart2.Init.OneBitSampling = UART_ONE_BIT_SAMPLE_DISABLE;
  huart2.AdvancedInit.AdvFeatureInit = UART_ADVFEATURE_NO_INIT;
  if (HAL_UART_Init(&huart2) != HAL_OK)
  {
    Error_Handler();
  }

}

static void MX_USART3_UART_Init(void)
{

  huart3.Instance = USART3;
  huart3.Init.BaudRate = 115200;
  huart3.Init.WordLength = UART_WORDLENGTH_8B;
  huart3.Init.StopBits = UART_STOPBITS_1;
  huart3.Init.Parity = UART_PARITY_NONE;
  huart3.Init.Mode = UART_MODE_TX_RX;
  huart3.Init.HwFlowCtl = UART_HWCONTROL_NONE;
  huart3.Init.OverSampling = UART_OVERSAMPLING_16;
  huart3.Init.OneBitSampling = UART_ONE_BIT_SAMPLE_DISABLE;
  huart3.AdvancedInit.AdvFeatureInit = UART_ADVFEATURE_NO_INIT;
  if (HAL_UART_Init(&huart3) != HAL_OK)
  {
    Error_Handler();
  }

}

static void MX_USART6_UART_Init(void)
{

  huart6.Instance = USART6;
  huart6.Init.BaudRate = 115200;
  huart6.Init.WordLength = UART_WORDLENGTH_8B;
  huart6.Init.StopBits = UART_STOPBITS_1;
  huart6.Init.Parity = UART_PARITY_NONE;
  huart6.Init.Mode = UART_MODE_TX_RX;
  huart6.Init.HwFlowCtl = UART_HWCONTROL_NONE;
  huart6.Init.OverSampling = UART_OVERSAMPLING_16;
  huart6.Init.OneBitSampling = UART_ONE_BIT_SAMPLE_DISABLE;
  huart6.AdvancedInit.AdvFeatureInit = UART_ADVFEATURE_NO_INIT;
  if (HAL_UART_Init(&huart6) != HAL_OK)
  {
    Error_Handler();
  }

}

static void MX_DMA_Init(void)
{

  /* DMA controller clock enable */
  __HAL_RCC_DMA1_CLK_ENABLE();
  __HAL_RCC_DMA2_CLK_ENABLE();

  /* DMA interrupt init */
  /* DMA1_Stream2_IRQn interrupt configuration */
  HAL_NVIC_SetPriority(DMA1_Stream2_IRQn, 0, 0);
  HAL_NVIC_EnableIRQ(DMA1_Stream2_IRQn);
  /* DMA1_Stream5_IRQn interrupt configuration */
  HAL_NVIC_SetPriority(DMA1_Stream5_IRQn, 0, 0);
  HAL_NVIC_EnableIRQ(DMA1_Stream5_IRQn);
  /* DMA1_Stream6_IRQn interrupt configuration */
  HAL_NVIC_SetPriority(DMA1_Stream6_IRQn, 0, 0);
  HAL_NVIC_EnableIRQ(DMA1_Stream6_IRQn);
  /* DMA2_Stream5_IRQn interrupt configuration */
  HAL_NVIC_SetPriority(DMA2_Stream5_IRQn, 0, 0);
  HAL_NVIC_EnableIRQ(DMA2_Stream5_IRQn);
  /* DMA2_Stream6_IRQn interrupt configuration */
  HAL_NVIC_SetPriority(DMA2_Stream6_IRQn, 0, 0);
  HAL_NVIC_EnableIRQ(DMA2_Stream6_IRQn);

}

static void MX_GPIO_Init(void)
{
  LL_EXTI_InitTypeDef EXTI_InitStruct = {0};
  LL_GPIO_InitTypeDef GPIO_InitStruct = {0};

  /* GPIO Ports Clock Enable */
  LL_AHB1_GRP1_EnableClock(LL_AHB1_GRP1_PERIPH_GPIOC);
  LL_AHB1_GRP1_EnableClock(LL_AHB1_GRP1_PERIPH_GPIOH);
  LL_AHB1_GRP1_EnableClock(LL_AHB1_GRP1_PERIPH_GPIOA);
  LL_AHB1_GRP1_EnableClock(LL_AHB1_GRP1_PERIPH_GPIOB);
  LL_AHB1_GRP1_EnableClock(LL_AHB1_GRP1_PERIPH_GPIOD);

  /**/
  LL_GPIO_SetOutputPin(RGB_R_GPIO_Port, RGB_R_Pin);

  /**/
  LL_GPIO_SetOutputPin(BARO_CS_GPIO_Port, BARO_CS_Pin);

  /**/
  LL_GPIO_SetOutputPin(GYRO_CS_GPIO_Port, GYRO_CS_Pin);

  /**/
  LL_GPIO_SetOutputPin(ACCEL_CS_GPIO_Port, ACCEL_CS_Pin);

  /**/
  LL_GPIO_SetOutputPin(CS_EXT_3_GPIO_Port, CS_EXT_3_Pin);

  /**/
  LL_GPIO_SetOutputPin(CS_EXT_2_GPIO_Port, CS_EXT_2_Pin);

  /**/
  LL_GPIO_SetOutputPin(RGB_B_GPIO_Port, RGB_B_Pin);

  /**/
  LL_GPIO_SetOutputPin(RGB_G_GPIO_Port, RGB_G_Pin);

  /**/
  LL_GPIO_ResetOutputPin(SERVO1_GPIO_Port, SERVO1_Pin);

  /**/
  LL_GPIO_ResetOutputPin(SERVO2_GPIO_Port, SERVO2_Pin);

  /**/
  LL_GPIO_ResetOutputPin(SERVO4_GPIO_Port, SERVO4_Pin);

  /**/
  LL_SYSCFG_SetEXTISource(LL_SYSCFG_EXTI_PORTC, LL_SYSCFG_EXTI_LINE13);

  /**/
  EXTI_InitStruct.Line_0_31 = LL_EXTI_LINE_13;
  EXTI_InitStruct.LineCommand = ENABLE;
  EXTI_InitStruct.Mode = LL_EXTI_MODE_IT;
  EXTI_InitStruct.Trigger = LL_EXTI_TRIGGER_FALLING;
  LL_EXTI_Init(&EXTI_InitStruct);

  /**/
  LL_GPIO_SetPinPull(GPIOC, LL_GPIO_PIN_13, LL_GPIO_PULL_UP);

  /**/
  LL_GPIO_SetPinMode(GPIOC, LL_GPIO_PIN_13, LL_GPIO_MODE_INPUT);

  /**/
  GPIO_InitStruct.Pin = LL_GPIO_PIN_1;
  GPIO_InitStruct.Mode = LL_GPIO_MODE_ALTERNATE;
  GPIO_InitStruct.Speed = LL_GPIO_SPEED_FREQ_VERY_HIGH;
  GPIO_InitStruct.OutputType = LL_GPIO_OUTPUT_PUSHPULL;
  GPIO_InitStruct.Pull = LL_GPIO_PULL_NO;
  GPIO_InitStruct.Alternate = LL_GPIO_AF_5;
  LL_GPIO_Init(GPIOC, &GPIO_InitStruct);

  /**/
  GPIO_InitStruct.Pin = LL_GPIO_PIN_2;
  GPIO_InitStruct.Mode = LL_GPIO_MODE_ALTERNATE;
  GPIO_InitStruct.Speed = LL_GPIO_SPEED_FREQ_VERY_HIGH;
  GPIO_InitStruct.OutputType = LL_GPIO_OUTPUT_PUSHPULL;
  GPIO_InitStruct.Pull = LL_GPIO_PULL_NO;
  GPIO_InitStruct.Alternate = LL_GPIO_AF_5;
  LL_GPIO_Init(GPIOC, &GPIO_InitStruct);

  /**/
  GPIO_InitStruct.Pin = RGB_R_Pin;
  GPIO_InitStruct.Mode = LL_GPIO_MODE_OUTPUT;
  GPIO_InitStruct.Speed = LL_GPIO_SPEED_FREQ_LOW;
  GPIO_InitStruct.OutputType = LL_GPIO_OUTPUT_OPENDRAIN;
  GPIO_InitStruct.Pull = LL_GPIO_PULL_NO;
  LL_GPIO_Init(RGB_R_GPIO_Port, &GPIO_InitStruct);

  /**/
  GPIO_InitStruct.Pin = SD_CD_Pin;
  GPIO_InitStruct.Mode = LL_GPIO_MODE_INPUT;
  GPIO_InitStruct.Pull = LL_GPIO_PULL_UP;
  LL_GPIO_Init(SD_CD_GPIO_Port, &GPIO_InitStruct);

  /**/
  GPIO_InitStruct.Pin = BARO_CS_Pin;
  GPIO_InitStruct.Mode = LL_GPIO_MODE_OUTPUT;
  GPIO_InitStruct.Speed = LL_GPIO_SPEED_FREQ_LOW;
  GPIO_InitStruct.OutputType = LL_GPIO_OUTPUT_PUSHPULL;
  GPIO_InitStruct.Pull = LL_GPIO_PULL_UP;
  LL_GPIO_Init(BARO_CS_GPIO_Port, &GPIO_InitStruct);

  /**/
  GPIO_InitStruct.Pin = GYRO_CS_Pin;
  GPIO_InitStruct.Mode = LL_GPIO_MODE_OUTPUT;
  GPIO_InitStruct.Speed = LL_GPIO_SPEED_FREQ_LOW;
  GPIO_InitStruct.OutputType = LL_GPIO_OUTPUT_PUSHPULL;
  GPIO_InitStruct.Pull = LL_GPIO_PULL_NO;
  LL_GPIO_Init(GYRO_CS_GPIO_Port, &GPIO_InitStruct);

  /**/
  GPIO_InitStruct.Pin = ACCEL_CS_Pin;
  GPIO_InitStruct.Mode = LL_GPIO_MODE_OUTPUT;
  GPIO_InitStruct.Speed = LL_GPIO_SPEED_FREQ_LOW;
  GPIO_InitStruct.OutputType = LL_GPIO_OUTPUT_PUSHPULL;
  GPIO_InitStruct.Pull = LL_GPIO_PULL_NO;
  LL_GPIO_Init(ACCEL_CS_GPIO_Port, &GPIO_InitStruct);

  /**/
  GPIO_InitStruct.Pin = SERVO1_Pin;
  GPIO_InitStruct.Mode = LL_GPIO_MODE_OUTPUT;
  GPIO_InitStruct.Speed = LL_GPIO_SPEED_FREQ_LOW;
  GPIO_InitStruct.OutputType = LL_GPIO_OUTPUT_PUSHPULL;
  GPIO_InitStruct.Pull = LL_GPIO_PULL_NO;
  LL_GPIO_Init(SERVO1_GPIO_Port, &GPIO_InitStruct);

  /**/
  GPIO_InitStruct.Pin = SERVO2_Pin;
  GPIO_InitStruct.Mode = LL_GPIO_MODE_OUTPUT;
  GPIO_InitStruct.Speed = LL_GPIO_SPEED_FREQ_VERY_HIGH;
  GPIO_InitStruct.OutputType = LL_GPIO_OUTPUT_PUSHPULL;
  GPIO_InitStruct.Pull = LL_GPIO_PULL_NO;
  LL_GPIO_Init(SERVO2_GPIO_Port, &GPIO_InitStruct);

  /**/
  GPIO_InitStruct.Pin = LL_GPIO_PIN_13;
  GPIO_InitStruct.Mode = LL_GPIO_MODE_ALTERNATE;
  GPIO_InitStruct.Speed = LL_GPIO_SPEED_FREQ_VERY_HIGH;
  GPIO_InitStruct.OutputType = LL_GPIO_OUTPUT_PUSHPULL;
  GPIO_InitStruct.Pull = LL_GPIO_PULL_NO;
  GPIO_InitStruct.Alternate = LL_GPIO_AF_5;
  LL_GPIO_Init(GPIOB, &GPIO_InitStruct);

  /**/
  GPIO_InitStruct.Pin = SERVO4_Pin;
  GPIO_InitStruct.Mode = LL_GPIO_MODE_OUTPUT;
  GPIO_InitStruct.Speed = LL_GPIO_SPEED_FREQ_VERY_HIGH;
  GPIO_InitStruct.OutputType = LL_GPIO_OUTPUT_PUSHPULL;
  GPIO_InitStruct.Pull = LL_GPIO_PULL_NO;
  LL_GPIO_Init(SERVO4_GPIO_Port, &GPIO_InitStruct);

  /**/
  GPIO_InitStruct.Pin = CS_EXT_3_Pin;
  GPIO_InitStruct.Mode = LL_GPIO_MODE_OUTPUT;
  GPIO_InitStruct.Speed = LL_GPIO_SPEED_FREQ_LOW;
  GPIO_InitStruct.OutputType = LL_GPIO_OUTPUT_PUSHPULL;
  GPIO_InitStruct.Pull = LL_GPIO_PULL_UP;
  LL_GPIO_Init(CS_EXT_3_GPIO_Port, &GPIO_InitStruct);

  /**/
  GPIO_InitStruct.Pin = CS_EXT_2_Pin;
  GPIO_InitStruct.Mode = LL_GPIO_MODE_OUTPUT;
  GPIO_InitStruct.Speed = LL_GPIO_SPEED_FREQ_LOW;
  GPIO_InitStruct.OutputType = LL_GPIO_OUTPUT_PUSHPULL;
  GPIO_InitStruct.Pull = LL_GPIO_PULL_UP;
  LL_GPIO_Init(CS_EXT_2_GPIO_Port, &GPIO_InitStruct);

  /**/
  GPIO_InitStruct.Pin = RGB_B_Pin;
  GPIO_InitStruct.Mode = LL_GPIO_MODE_OUTPUT;
  GPIO_InitStruct.Speed = LL_GPIO_SPEED_FREQ_LOW;
  GPIO_InitStruct.OutputType = LL_GPIO_OUTPUT_OPENDRAIN;
  GPIO_InitStruct.Pull = LL_GPIO_PULL_NO;
  LL_GPIO_Init(RGB_B_GPIO_Port, &GPIO_InitStruct);

  /**/
  GPIO_InitStruct.Pin = RGB_G_Pin;
  GPIO_InitStruct.Mode = LL_GPIO_MODE_OUTPUT;
  GPIO_InitStruct.Speed = LL_GPIO_SPEED_FREQ_LOW;
  GPIO_InitStruct.OutputType = LL_GPIO_OUTPUT_OPENDRAIN;
  GPIO_InitStruct.Pull = LL_GPIO_PULL_NO;
  LL_GPIO_Init(RGB_G_GPIO_Port, &GPIO_InitStruct);

  /* EXTI interrupt init*/
  NVIC_SetPriority(EXTI15_10_IRQn, NVIC_EncodePriority(NVIC_GetPriorityGrouping(),0, 0));
  NVIC_EnableIRQ(EXTI15_10_IRQn);

}

/* USER CODE BEGIN 4 */
void HAL_UART_RxCpltCallback(UART_HandleTypeDef *huart){
	if(huart->Instance == UART4){
		GPS_OVERFLOW_INCREMENT();
	}
	if(huart->Instance == USART2){
		CRSF_OVERFLOW_INCREMENT();
	}
}

#if PRINT_DEBUG_DATA
static void PRINT_DATA(){
	//USB_PRINTLN("Executed at: %lu%lu  |  GPS Sats: %d  |   GPS Timestamp: %ld  |  GPS Year: %d  |  GPS Month: %d  |  GPS Day: %d  |  GPS Fix Tag: %d  |  GPS sats: %d  |  GPS Lat: %f", (uint32_t)(MICROS64() >> 32), (uint32_t)(MICROS64() & 0xFFFFFFFF), gps_data.numSV, gps_data.unix_timestamp, gps_nav_pvt.year, gps_nav_pvt.month, gps_nav_pvt.day, gps_data.fix_type, gps_data.numSV, gps_data.lat);
	//USB_PRINTLN("Angle Gyro X: %f  |  Setpoint Angle X: %f  |  Throttle: %f  |  CRSF Pitch: %f  |  CRSF Roll: %f", imu_data.angle_y_fused, fly_by_wire_setpoints.pitch_angle, crsf_data.channel_norm[CRSF_CHANNEL_THROTTLE], crsf_data.channel_norm[CRSF_CHANNEL_PITCH], crsf_data.channel_norm[CRSF_CHANNEL_ROLL]);
	//USB_PRINTLN("lat: %f  |  lon: %f  |  altitude: %f  |  gspeed: %f  |  heading: %f  |  num sats: %d  |  vbat: %f  |  vbat raw: %d  |  Accel X: %f", gps_data.lat, gps_data.lon, gps_data.altitude, gps_data.gspeed, gps_data.heading, gps_data.numSV, imu_data.vbat, imu_data.vbat_raw, imu_data.accel_x);	// GPS
	//USB_PRINTLN("Pitch angle: %f  |  Roll angle: %f  |  CPU usage avrg 1s: %.1f%%  |  CPU max usage 1s: %.1f%%  |  Time: %ld", UTIL_DEGREES(ONBOARD_SENSORS.gyro.pitch_angle), UTIL_DEGREES(ONBOARD_SENSORS.gyro.roll_angle), USAGE_STAT_GET_AVRG_1S() / 10.0f, USAGE_STAT_GET_MAX_LOOP_TIME_1S() / 10.0f, MICROS64());
	//USB_PRINTLN("%f, %f", UTIL_DEGREES(attitude_pid_values.pitch_error), UTIL_DEGREES(attitude_pid_values.roll_error));
	//USB_PRINTLN("w:%f, x:%f, y:%f, z:%f, y-axis directly integrated:%f", q[0], q[1], q[2], q[3], imu_data.pitch_angle);
	//USB_PRINTLN("pitch_err:%f, roll_err:%f", attitude_pid.pitch_error, attitude_pid.roll_error);
	//USB_PRINTLN("pitch:%f,roll:%f", ONBOARD_SENSORS.gyro.gyro.y, ONBOARD_SENSORS.gyro.gyro.x);
	//USB_PRINTLN("Angle: | pitch: %f roll: %f | Accel | x: %f y: %f z: %f | Errors: | ex: %f ey: %f", UTIL_DEGREES(ONBOARD_SENSORS.gyro.pitch_angle), UTIL_DEGREES(ONBOARD_SENSORS.gyro.roll_angle), ONBOARD_SENSORS.accel.accel.x, ONBOARD_SENSORS.accel.accel.y, ONBOARD_SENSORS.accel.accel.z, ONBOARD_SENSORS.ex, ONBOARD_SENSORS.ey);
	//UTIL_USB_PRINT_RAW((char*) 0, 0);
}
#endif

void delay_100_ms(int delay_hundreds_ms){
	  for(int i = 0; i < delay_hundreds_ms; i++){
		  while(!(TIM6->SR & TIM_SR_UIF)){

		  }
		  TIM6->SR &= ~TIM_SR_UIF;
	  }
}

void ERROR_HANDLER_BLINKS(unsigned char BLINKS)
{
  /* USER CODE BEGIN Error_Handler_Debug */
  /* User can add his own implementation to report the HAL error return state */
  __disable_irq();

  // Enable TIM6 clock (F7 version)
  RCC->APB1ENR |= RCC_APB1ENR_TIM6EN;

  // Configure TIM6 for 100 ms overflow (@108 MHz timer clock)
  TIM6->PSC = 10799;     // 108 MHz / 10800 = 10 kHz
  TIM6->ARR = 999;       // 999+1 = 100 ms period
  TIM6->CNT = 0;

  // Enable counter
  TIM6->CR1 |= TIM_CR1_CEN;

  while (1){
	  UTIL_STATUS_LED_GREEN_OFF();
	  UTIL_STATUS_LED_BLUE_OFF();
	  for(uint8_t counter = 0; counter < progress_counter; counter++){
		  UTIL_STATUS_LED_BLUE_ON();
		  delay_100_ms(1);
		  UTIL_STATUS_LED_BLUE_OFF();
		  delay_100_ms(5);
	  }

	  delay_100_ms(8);

	  for(uint8_t counter = 0; counter < BLINKS; counter++){
		  UTIL_STATUS_LED_GREEN_ON();
		  delay_100_ms(1);
		  UTIL_STATUS_LED_GREEN_OFF();
		  delay_100_ms(5);
	  }
	  delay_100_ms(15);
  }
  /* USER CODE END Error_Handler_Debug */
}

/* USER CODE END 4 */

 /* MPU Configuration */

void MPU_Config(void)
{
  MPU_Region_InitTypeDef MPU_InitStruct = {0};

  /* Disables the MPU */
  HAL_MPU_Disable();

  /** Initializes and configures the Region and the memory to be protected
  */
  MPU_InitStruct.Enable = MPU_REGION_ENABLE;
  MPU_InitStruct.Number = MPU_REGION_NUMBER0;
  MPU_InitStruct.BaseAddress = 0x0;
  MPU_InitStruct.Size = MPU_REGION_SIZE_4GB;
  MPU_InitStruct.SubRegionDisable = 0x87;
  MPU_InitStruct.TypeExtField = MPU_TEX_LEVEL0;
  MPU_InitStruct.AccessPermission = MPU_REGION_NO_ACCESS;
  MPU_InitStruct.DisableExec = MPU_INSTRUCTION_ACCESS_DISABLE;
  MPU_InitStruct.IsShareable = MPU_ACCESS_SHAREABLE;
  MPU_InitStruct.IsCacheable = MPU_ACCESS_NOT_CACHEABLE;
  MPU_InitStruct.IsBufferable = MPU_ACCESS_NOT_BUFFERABLE;

  HAL_MPU_ConfigRegion(&MPU_InitStruct);
  /* Enables the MPU */
  HAL_MPU_Enable(MPU_PRIVILEGED_DEFAULT);

}

void Error_Handler(void)
{
  /* USER CODE BEGIN Error_Handler_Debug */
  /* User can add his own implementation to report the HAL error return state */
  __disable_irq();

  // Enable TIM6 clock (F7 version)
  RCC->APB1ENR |= RCC_APB1ENR_TIM6EN;

  // Configure TIM6 for 100 ms overflow (@108 MHz timer clock)
  TIM6->PSC = 10799;     // 108 MHz / 10800 = 10 kHz
  TIM6->ARR = 999;       // 999+1 = 100 ms period
  TIM6->CNT = 0;

  // Enable counter
  TIM6->CR1 |= TIM_CR1_CEN;

  while (1){
	  UTIL_STATUS_LED_GREEN_OFF();
	  UTIL_STATUS_LED_BLUE_OFF();
	  for(uint8_t counter = 0; counter < progress_counter; counter++){
		  UTIL_STATUS_LED_BLUE_ON();
		  delay_100_ms(1);
		  UTIL_STATUS_LED_BLUE_OFF();
		  delay_100_ms(5);
	  }

	  delay_100_ms(8);
  }
  /* USER CODE END Error_Handler_Debug */
}
